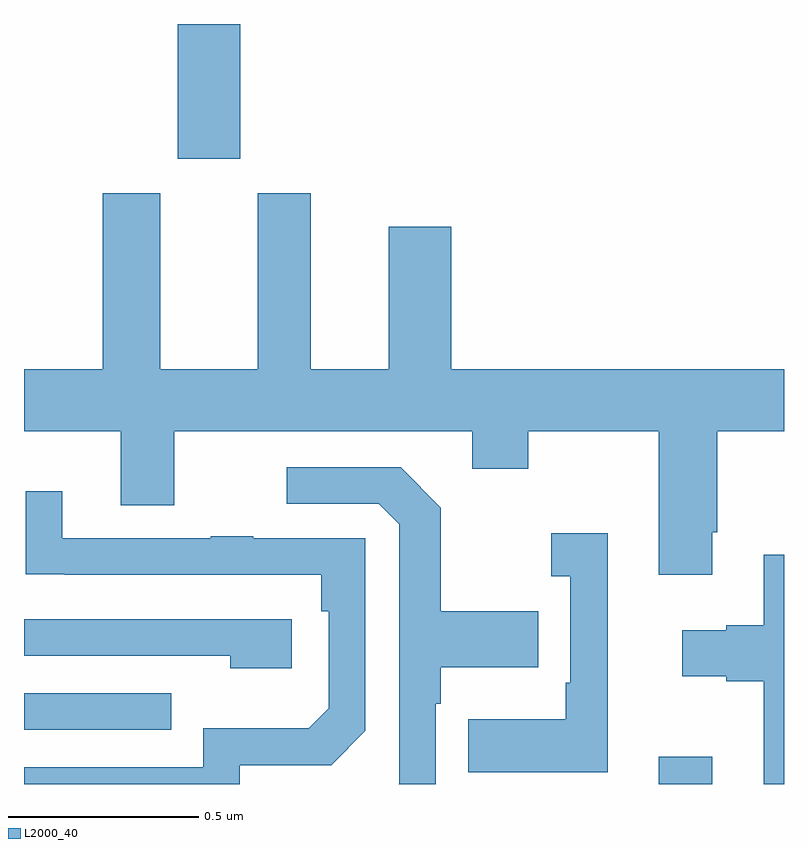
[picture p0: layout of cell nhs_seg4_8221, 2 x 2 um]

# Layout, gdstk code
import gdstk
lib = gdstk.Library(unit=1e-6, precision=1e-09)
def R(c, l, rs):  # rectangles x0, y0, x1, y1
    for r in rs: c.add(gdstk.rectangle(r[:2], r[2:], *l))
def P(c, l, *ps):  # polygons
    for p in ps: c.add(gdstk.Polygon(p, *l))
L2000_40 = (2000, 40)

nhs_seg4_8221 = lib.new_cell('nhs_seg4_8221')
R(nhs_seg4_8221, L2000_40, [(213.671,787.9,213.811,787.972), (212,788.043,212.387,788.139), (212.405,789.546,212.569,789.9)])
P(nhs_seg4_8221, L2000_40, [(212.615,789.454),(212.615,788.992),(212.359,788.992),(212.359,789.454),(212.207,789.454),(212.207,788.992),(212,788.992),(212,788.828),(212.255,788.828),(212.255,788.634),(212.395,788.634),(212.395,788.828),(213.179,788.828),(213.179,788.729),(213.327,788.729),(213.327,788.828),(213.671,788.828),(213.671,788.451),(213.811,788.451),(213.811,788.563),(213.824,788.563),(213.824,788.828),(214,788.828),(214,788.992),(213.124,788.992),(213.124,789.367),(212.96,789.367),(212.96,788.992),(212.755,788.992),(212.755,789.454)],
  [(213.084,788.111),(213.097,788.111),(213.097,788.207),(213.353,788.207),(213.353,788.355),(213.097,788.355),(213.097,788.627),(212.991,788.733),(212.691,788.733),(212.691,788.637),(212.934,788.637),(212.988,788.583),(212.988,787.902),(212.986,787.9),(213.084,787.9)],
  [(212.568,787.95),(212.808,787.95),(212.898,788.04),(212.898,788.547),(212.603,788.547),(212.603,788.552),(212.491,788.552),(212.491,788.547),(212.101,788.547),(212.101,788.671),(212.005,788.671),(212.005,788.452),(212.107,788.452),(212.107,788.451),(212.782,788.451),(212.782,788.354),(212.802,788.354),(212.802,788.1),(212.749,788.047),(212.472,788.047),(212.472,787.944),(212,787.944),(212,787.9),(212.568,787.9)],
  [(213.536,788.56),(213.387,788.56),(213.387,788.447),(213.438,788.447),(213.438,788.167),(213.426,788.167),(213.426,788.071),(213.169,788.071),(213.169,787.931),(213.536,787.931)],
  [(214,788.503),(213.947,788.503),(213.947,788.318),(213.848,788.318),(213.848,788.305),(213.732,788.305),(213.732,788.183),(213.848,788.183),(213.848,788.171),(213.947,788.171),(213.947,787.9),(214,787.9)],
  [(212.704,788.334),(212,788.334),(212,788.238),(212.543,788.238),(212.543,788.204),(212.704,788.204)])

lib.write_gds('nhs_seg4_8221.gds')
